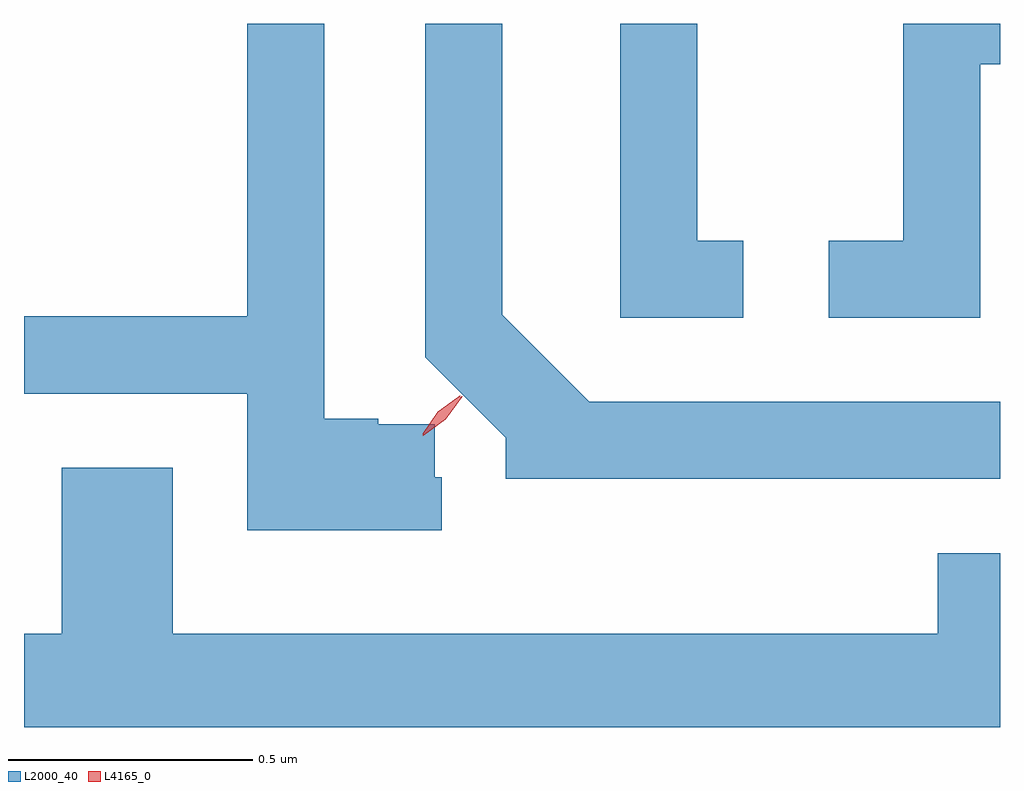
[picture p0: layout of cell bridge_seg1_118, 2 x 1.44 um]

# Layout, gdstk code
import gdstk
lib = gdstk.Library(unit=1e-6, precision=1e-09)
def P(c, l, *ps):  # polygons
    for p in ps: c.add(gdstk.Polygon(p, *l))
L2000_40 = (2000, 40)
L4165_0 = (4165, 0)

bridge_seg1_118 = lib.new_cell('bridge_seg1_118')
P(bridge_seg1_118, L2000_40, [(1452.864,841.071),(1452.904,841.071),(1452.904,841.154),(1452.706,841.154),(1452.706,840.709),(1452.553,840.709),(1452.553,840.551),(1452.864,840.551)],
  [(1452.904,840.379),(1452.062,840.379),(1451.884,840.557),(1451.884,841.154),(1451.726,841.154),(1451.726,840.47),(1451.891,840.305),(1451.891,840.221),(1452.904,840.221)],
  [(1451.76,840.225),(1451.746,840.225),(1451.746,840.333),(1451.63,840.333),(1451.63,840.344),(1451.519,840.344),(1451.519,841.154),(1451.361,841.154),(1451.361,840.554),(1450.904,840.554),(1450.904,840.396),(1451.361,840.396),(1451.361,840.116),(1451.76,840.116)],
  [(1452.378,840.709),(1452.284,840.709),(1452.284,841.154),(1452.126,841.154),(1452.126,840.551),(1452.378,840.551)],
  [(1452.904,840.069),(1452.776,840.069),(1452.776,839.904),(1451.209,839.904),(1451.209,840.244),(1450.981,840.244),(1450.981,839.904),(1450.904,839.904),(1450.904,839.712),(1452.904,839.712)])
P(bridge_seg1_118, L4165_0, [(1451.721,840.31),(1451.721,840.31),(1451.754,840.357),(1451.801,840.39),(1451.802,840.39),(1451.802,840.389),(1451.768,840.343),(1451.722,840.31)],
  [(1451.721,840.313),(1451.721,840.314),(1451.752,840.359),(1451.797,840.391),(1451.798,840.391),(1451.798,840.39),(1451.766,840.345),(1451.722,840.313)])

lib.write_gds('bridge_seg1_118.gds')
